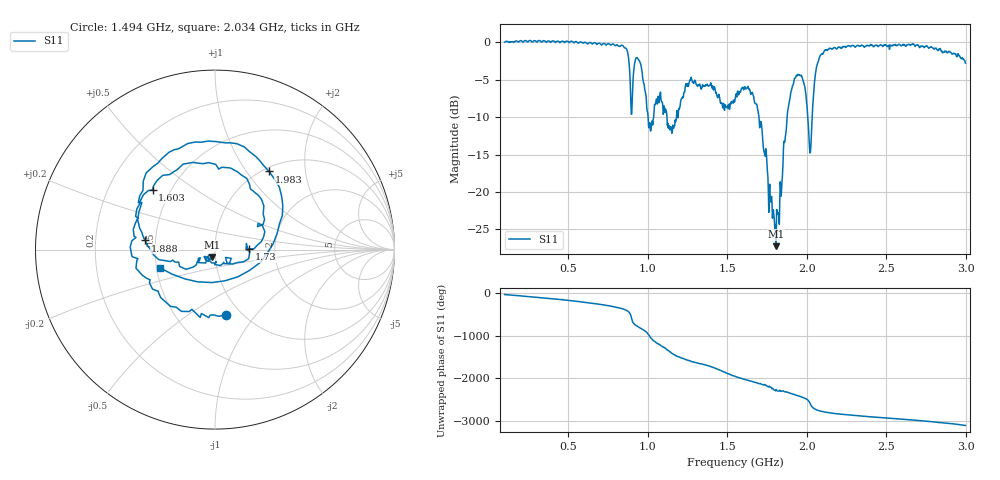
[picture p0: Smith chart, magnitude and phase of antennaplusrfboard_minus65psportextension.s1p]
# HZ S RI R 50
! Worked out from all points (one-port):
!   1009 points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, 100 MHz to 2.997 GHz, reference 50 ohm
!   lowest |S11| = -27.2 dB at 1.807 GHz (marker M1), VSWR 1.09, Z = 48.4 - j3.98 ohm
!   |S11| at or under -10 dB: 1.002 GHz to 1.037 GHz (34.79 MHz wide, 3.41 % of centre); 1.121 GHz to 1.18 GHz (59.67 MHz wide, 5.19 % of centre); 1.699 GHz to 1.876 GHz (177.1 MHz wide, 9.91 % of centre)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
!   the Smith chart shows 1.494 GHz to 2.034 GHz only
!   S11 on the Smith chart (normalised r, x): 1.494 GHz: 0.86, -0.72; 1.603 GHz: 0.40, +0.34; 1.73 GHz: 1.46, +0.01; 1.888 GHz: 0.44, +0.05; 1.983 GHz: 1.06, +1.29; 2.034 GHz: 0.52, -0.12
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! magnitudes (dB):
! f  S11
! 100 MHz  0.0
! 462.1 MHz  0.2
! 824.3 MHz  -0.5
! 867.4 MHz  -0.9
! 899 MHz  -9.6
! 947.9 MHz  -2.5
! 1.017 GHz  -11.8
! 1.066 GHz  -7.2
! 1.14 GHz  -11.6
! 1.186 GHz  -9.5
! 1.278 GHz  -5.1
! 1.494 GHz  -8.7
! 1.549 GHz  -7.7
! 1.603 GHz  -6.4
! 1.672 GHz  -8.1
! 1.73 GHz  -14.5
! 1.807 GHz  -27.2
! 1.833 GHz  -18.6
! 1.888 GHz  -8.1
! 1.911 GHz  -5.8
! 1.983 GHz  -5.5
! 2.017 GHz  -14.1
! 2.034 GHz  -9.8
! 2.054 GHz  -4.2
! 2.083 GHz  -1.8
! 2.273 GHz  -0.5
! 2.635 GHz  -0.3
! 2.997 GHz  -2.8
